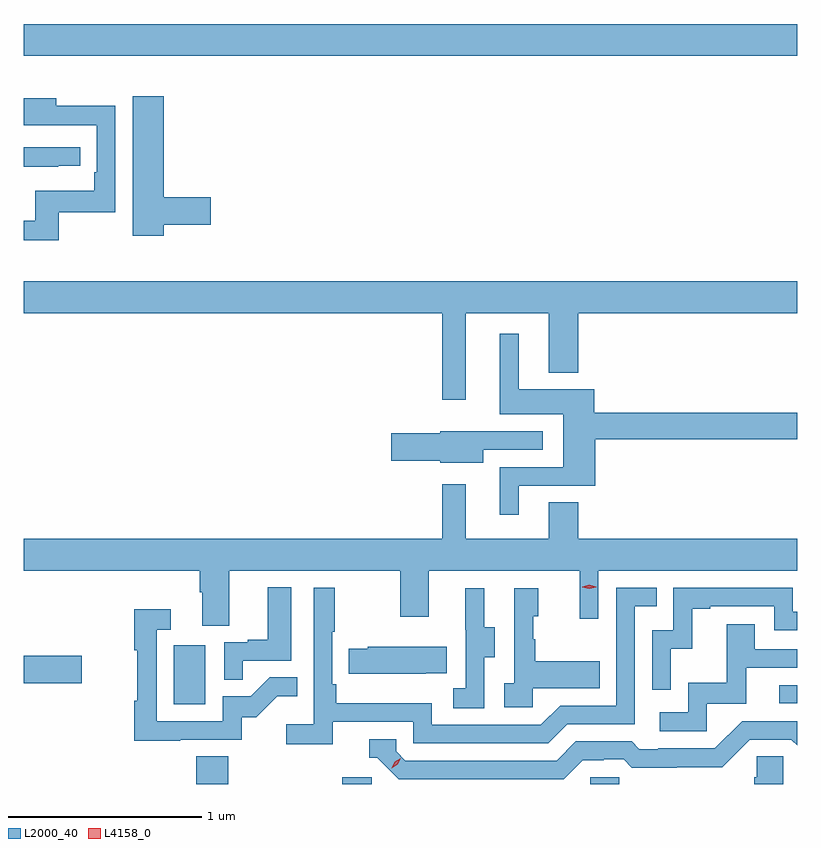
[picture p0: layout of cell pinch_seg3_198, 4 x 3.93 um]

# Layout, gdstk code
import gdstk
lib = gdstk.Library(unit=1e-6, precision=1e-09)
def R(c, l, rs):  # rectangles x0, y0, x1, y1
    for r in rs: c.add(gdstk.rectangle(r[:2], r[2:], *l))
def P(c, l, *ps):  # polygons
    for p in ps: c.add(gdstk.Polygon(p, *l))
L2000_40 = (2000, 40)
L4158_0 = (4158, 0)

pinch_seg3_198 = lib.new_cell('pinch_seg3_198')
R(pinch_seg3_198, L2000_40, [(970.409,730.448,970.574,730.592), (971.165,730.448,971.316,730.482), (972.447,730.448,972.597,730.482), (970.292,730.86,970.456,731.167), (973.425,730.866,973.517,730.959), (969.517,730.97,969.817,731.112), (969.517,734.216,973.517,734.38)])
P(pinch_seg3_198, L2000_40, [(970.24,733.342),(970.483,733.342),(970.483,733.484),(970.24,733.484),(970.24,734.005),(970.079,734.005),(970.079,733.284),(970.24,733.284)],
  [(969.697,733.407),(969.99,733.407),(969.99,733.958),(969.685,733.958),(969.685,733.996),(969.517,733.996),(969.517,733.856),(969.581,733.856),(969.581,733.857),(969.894,733.857),(969.894,733.612),(969.881,733.612),(969.881,733.516),(969.576,733.516),(969.576,733.361),(969.517,733.361),(969.517,733.26),(969.697,733.26)],
  [(969.695,733.647),(969.808,733.647),(969.808,733.743),(969.517,733.743),(969.517,733.642),(969.695,733.642)],
  [(971.803,732.884),(972.233,732.884),(972.233,732.575),(972.386,732.575),(972.386,732.884),(973.517,732.884),(973.517,733.048),(969.517,733.048),(969.517,732.884),(971.682,732.884),(971.682,732.435),(971.803,732.435)],
  [(972.076,731.991),(972.472,731.991),(972.472,732.232),(973.517,732.232),(973.517,732.368),(972.467,732.368),(972.467,732.49),(972.076,732.49),(972.076,732.778),(971.978,732.778),(971.978,732.362),(972.308,732.362),(972.308,732.087),(971.978,732.087),(971.978,731.841),(972.076,731.841)],
  [(971.893,732.177),(972.202,732.177),(972.202,732.273),(971.889,732.273),(971.889,732.274),(971.67,732.274),(971.67,732.263),(971.418,732.263),(971.418,732.121),(971.67,732.121),(971.67,732.11),(971.893,732.11)],
  [(970.579,731.552),(971.464,731.552),(971.464,731.313),(971.611,731.313),(971.611,731.552),(972.392,731.552),(972.392,731.304),(972.489,731.304),(972.489,731.552),(973.517,731.552),(973.517,731.716),(972.386,731.716),(972.386,731.906),(972.233,731.906),(972.233,731.716),(971.803,731.716),(971.803,731.998),(971.682,731.998),(971.682,731.716),(969.517,731.716),(969.517,731.552),(970.427,731.552),(970.427,731.44),(970.439,731.44),(970.439,731.266),(970.579,731.266)],
  [(970.649,731.085),(970.9,731.085),(970.9,731.467),(970.778,731.467),(970.778,731.194),(970.675,731.194),(970.675,731.181),(970.554,731.181),(970.554,730.987),(970.649,730.987)],
  [(971.114,730.77),(971.532,730.77),(971.532,730.659),(972.229,730.659),(972.328,730.758),(972.678,730.758),(972.678,731.367),(972.791,731.367),(972.791,731.463),(972.582,731.463),(972.582,730.854),(972.291,730.854),(972.192,730.755),(971.628,730.755),(971.628,730.867),(971.132,730.867),(971.132,730.963),(971.112,730.963),(971.112,731.236),(971.125,731.236),(971.125,731.464),(971.016,731.464),(971.016,730.756),(970.875,730.756),(970.875,730.654),(971.114,730.654)],
  [(972.864,731.147),(972.974,731.147),(972.974,731.355),(973.069,731.355),(973.069,731.367),(973.398,731.367),(973.398,731.244),(973.517,731.244),(973.517,731.34),(973.494,731.34),(973.494,731.463),(972.876,731.463),(972.876,731.244),(972.768,731.244),(972.768,730.935),(972.864,730.935)],
  [(971.898,731.104),(971.953,731.104),(971.953,731.259),(971.899,731.259),(971.899,731.461),(971.801,731.461),(971.801,731.247),(971.802,731.247),(971.802,730.943),(971.739,730.943),(971.739,730.84),(971.898,730.84)],
  [(972.15,730.943),(972.497,730.943),(972.497,731.083),(972.163,731.083),(972.163,731.198),(972.153,731.198),(972.153,731.316),(972.178,731.316),(972.178,731.461),(972.054,731.461),(972.054,730.97),(972.003,730.97),(972.003,730.845),(972.15,730.845)],
  [(970.325,730.677),(970.644,730.677),(970.644,730.794),(970.72,730.794),(970.827,730.901),(970.931,730.901),(970.931,731),(970.788,731),(970.69,730.902),(970.545,730.902),(970.545,730.773),(970.203,730.773),(970.203,731.247),(970.276,731.247),(970.276,731.353),(970.087,731.353),(970.087,731.14),(970.102,731.14),(970.102,730.88),(970.087,730.88),(970.087,730.672),(970.325,730.672)],
  [(973.05,730.863),(973.255,730.863),(973.255,731.049),(973.517,731.049),(973.517,731.145),(973.297,731.145),(973.297,731.275),(973.153,731.275),(973.153,730.972),(972.954,730.972),(972.954,730.818),(972.807,730.818),(972.807,730.722),(973.05,730.722)],
  [(971.597,731.021),(971.705,731.021),(971.705,731.158),(971.295,731.158),(971.295,731.148),(971.197,731.148),(971.197,731.018),(971.597,731.018)],
  [(972.409,730.572),(972.516,730.572),(972.516,730.575),(972.619,730.575),(972.661,730.533),(972.894,730.533),(972.894,730.535),(973.13,730.535),(973.272,730.677),(973.488,730.677),(973.517,730.648),(973.517,730.773),(973.233,730.773),(973.092,730.632),(972.799,730.632),(972.799,730.629),(972.7,730.629),(972.661,730.668),(972.372,730.668),(972.273,730.569),(971.49,730.569),(971.442,730.617),(971.442,730.68),(971.303,730.68),(971.303,730.584),(971.346,730.584),(971.457,730.473),(972.31,730.473)],
  [(973.446,730.592),(973.309,730.592),(973.309,730.482),(973.295,730.482),(973.295,730.448),(973.446,730.448)])
P(pinch_seg3_198, L4158_0, [(972.442,731.457),(972.406,731.467),(972.406,731.468),(972.406,731.468),(972.442,731.478),(972.477,731.468),(972.478,731.468),(972.477,731.467)],
  [(971.42,730.529),(971.42,730.53),(971.436,730.562),(971.467,730.582),(971.467,730.582),(971.467,730.582),(971.451,730.549),(971.42,730.529)])

lib.write_gds('pinch_seg3_198.gds')
